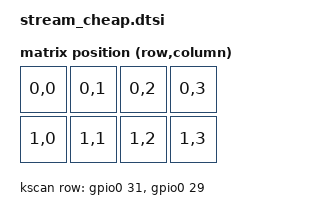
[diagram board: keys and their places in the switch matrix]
#include <zmk/physical_layouts.dtsi>
#include <dt-bindings/zmk/matrix_transform.h>


/ {
    kscan: kscan {
        compatible = "zmk,kscan-gpio-matrix";
        label = "kscan";
        diode-direction = "col2row";

        row-gpios = <
            &gpio0 31 (GPIO_ACTIVE_HIGH | GPIO_PULL_DOWN)
            &gpio0 29 (GPIO_ACTIVE_HIGH | GPIO_PULL_DOWN)
        >;
    };

    transform: matrix_transform {
        compatible = "zmk,matrix-transform";
        rows = <2>;
        columns = <4>;
        map = <
            RC(0,0) RC(0,1) RC(0,2) RC(0,3)
            RC(1,0) RC(1,1) RC(1,2) RC(1,3)
        >;
    };

    macropad_2x4: macropad_2x4 {
        compatible = "zmk,physical-layout";
        display-name = "Macropad 2x4";

        transform = <&transform>;
        kscan = <&kscan>;

        keys =
            <&key_physical_attrs 100 100   0   0  0 0 0>,
            <&key_physical_attrs 100 100 100   0  0 0 0>,
            <&key_physical_attrs 100 100 200   0  0 0 0>,
            <&key_physical_attrs 100 100 300   0  0 0 0>,

            <&key_physical_attrs 100 100   0 100  0 0 0>,
            <&key_physical_attrs 100 100 100 100  0 0 0>,
            <&key_physical_attrs 100 100 200 100  0 0 0>,
            <&key_physical_attrs 100 100 300 100  0 0 0>;
    };
};
